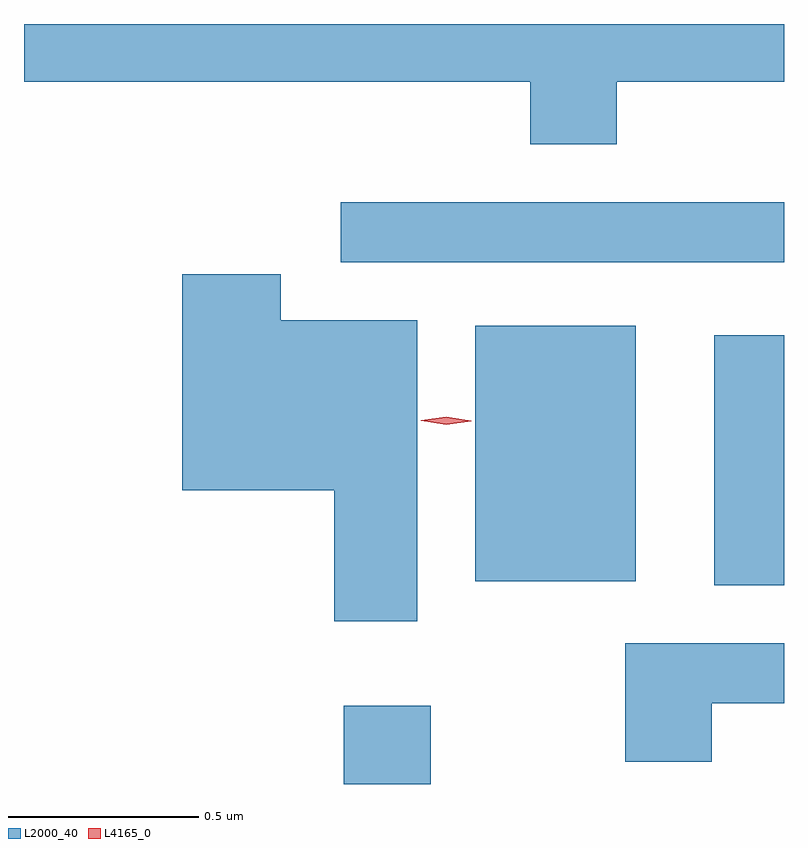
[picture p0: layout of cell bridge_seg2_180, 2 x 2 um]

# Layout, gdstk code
import gdstk
lib = gdstk.Library(unit=1e-6, precision=1e-09)
def R(c, l, rs):  # rectangles x0, y0, x1, y1
    for r in rs: c.add(gdstk.rectangle(r[:2], r[2:], *l))
def P(c, l, *ps):  # polygons
    for p in ps: c.add(gdstk.Polygon(p, *l))
L2000_40 = (2000, 40)
L4165_0 = (4165, 0)

bridge_seg2_180 = lib.new_cell('bridge_seg2_180')
R(bridge_seg2_180, L2000_40, [(848.761,1013.168,848.989,1013.374), (849.736,1013.691,849.919,1014.349), (849.106,1013.701,849.529,1014.374), (848.753,1014.541,849.919,1014.699)])
P(bridge_seg2_180, L2000_40, [(847.919,1015.016),(849.251,1015.016),(849.251,1014.851),(849.479,1014.851),(849.479,1015.016),(849.919,1015.016),(849.919,1015.168),(847.919,1015.168)],
  [(848.954,1014.389),(848.594,1014.389),(848.594,1014.509),(848.336,1014.509),(848.336,1013.941),(848.736,1013.941),(848.736,1013.596),(848.954,1013.596)],
  [(849.729,1013.381),(849.919,1013.381),(849.919,1013.539),(849.501,1013.539),(849.501,1013.226),(849.729,1013.226)])
P(bridge_seg2_180, L4165_0, [(849.03,1014.114),(848.964,1014.124),(848.963,1014.124),(848.964,1014.125),(849.03,1014.134),(849.096,1014.124),(849.096,1014.124),(849.096,1014.123)])

lib.write_gds('bridge_seg2_180.gds')
